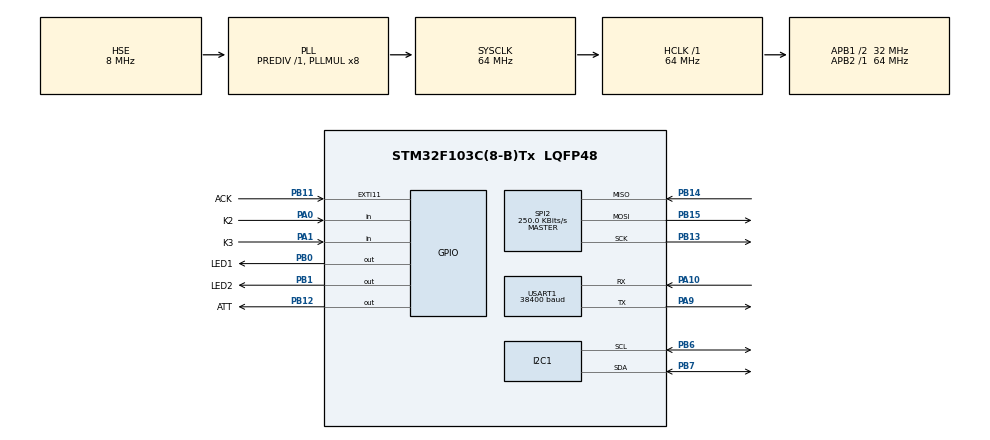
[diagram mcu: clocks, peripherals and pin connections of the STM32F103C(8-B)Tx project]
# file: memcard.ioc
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I2C1.I2C_Mode=I2C_Fast
Mcu.Family=STM32F1
Mcu.Name=STM32F103C(8-B)Tx
Mcu.Package=LQFP48
NVIC.EXTI15_10_IRQn=true\:0\:0\:false\:false\:true\:true\:true\:true
NVIC.PriorityGroup=NVIC_PRIORITYGROUP_4
NVIC.USART1_IRQn=true\:0\:0\:false\:false\:true\:true\:true\:true
PA0-WKUP.GPIO_Label=K2
PA0-WKUP.GPIO_PuPd=GPIO_PULLUP
PA0-WKUP.Signal=GPIO_Input
PA1.GPIO_Label=K3
PA1.GPIO_PuPd=GPIO_PULLUP
PA1.Signal=GPIO_Input
PA10.Mode=Asynchronous
PA10.Signal=USART1_RX
PA9.Mode=Asynchronous
PA9.Signal=USART1_TX
PB0.GPIO_Label=LED1
PB0.GPIO_ModeDefaultOutputPP=GPIO_MODE_OUTPUT_PP
PB0.GPIO_Speed=GPIO_SPEED_FREQ_LOW
PB0.PinState=GPIO_PIN_SET
PB0.Signal=GPIO_Output
PB1.GPIO_Label=LED2
PB1.GPIO_Speed=GPIO_SPEED_FREQ_LOW
PB1.PinState=GPIO_PIN_SET
PB1.Signal=GPIO_Output
PB11.GPIO_Label=ACK
PB11.GPIO_ModeDefaultEXTI=GPIO_MODE_IT_FALLING
PB11.GPIO_PuPd=GPIO_PULLUP
PB11.Signal=GPXTI11
PB12.GPIO_Label=ATT
PB12.GPIO_ModeDefaultOutputPP=GPIO_MODE_OUTPUT_PP
PB12.GPIO_PuPd=GPIO_PULLUP
PB12.GPIO_Speed=GPIO_SPEED_FREQ_HIGH
PB12.PinState=GPIO_PIN_SET
PB12.Signal=GPIO_Output
PB13.Mode=Full_Duplex_Master
PB13.Signal=SPI2_SCK
PB14.GPIO_PuPd=GPIO_PULLUP
PB14.Mode=Full_Duplex_Master
PB14.Signal=SPI2_MISO
PB15.Mode=Full_Duplex_Master
PB15.Signal=SPI2_MOSI
PB6.Mode=I2C
PB6.Signal=I2C1_SCL
PB7.Mode=I2C
PB7.Signal=I2C1_SDA
PC14-OSC32_IN.Mode=LSE-External-Oscillator
PC14-OSC32_IN.Signal=RCC_OSC32_IN
PC15-OSC32_OUT.Mode=LSE-External-Oscillator
PC15-OSC32_OUT.Signal=RCC_OSC32_OUT
PD0-OSC_IN.Mode=HSE-External-Oscillator
PD0-OSC_IN.Signal=RCC_OSC_IN
PD1-OSC_OUT.Mode=HSE-External-Oscillator
PD1-OSC_OUT.Signal=RCC_OSC_OUT
ProjectManager.HeapSize=0x200
ProjectManager.StackSize=0x400
ProjectManager.TargetToolchain=STM32CubeIDE
RCC.AHBFreq_Value=64000000
RCC.APB1CLKDivider=RCC_HCLK_DIV2
RCC.APB1Freq_Value=32000000
RCC.APB1TimFreq_Value=64000000
RCC.APB2Freq_Value=64000000
RCC.APB2TimFreq_Value=64000000
RCC.HCLKFreq_Value=64000000
RCC.PLLMUL=RCC_PLL_MUL8
RCC.PLLSourceVirtual=RCC_PLLSOURCE_HSE
RCC.SYSCLKFreq_VALUE=64000000
RCC.SYSCLKSource=RCC_SYSCLKSOURCE_PLLCLK
RCC.USBFreq_Value=64000000
SPI2.BaudRatePrescaler=SPI_BAUDRATEPRESCALER_128
SPI2.CLKPhase=SPI_PHASE_2EDGE
SPI2.CLKPolarity=SPI_POLARITY_HIGH
SPI2.CalculateBaudRate=250.0 KBits/s
SPI2.Direction=SPI_DIRECTION_2LINES
SPI2.FirstBit=SPI_FIRSTBIT_LSB
SPI2.Mode=SPI_MODE_MASTER
SPI2.VirtualType=VM_MASTER
USART1.BaudRate=38400
USART1.VirtualMode=VM_ASYNC
VP_SYS_VS_ND.Mode=No_Debug
board=custom

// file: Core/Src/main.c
/* USER CODE BEGIN Header */
/**
  ******************************************************************************
  * @file           : main.c
  * @brief          : Main program body
  ******************************************************************************
  * @attention
  *
  * Copyright (c) 2022 STMicroelectronics.
  * All rights reserved.
  *
  * This software is licensed under terms that can be found in the LICENSE file
  * in the root directory of this software component.
  * If no LICENSE file comes with this software, it is provided AS-IS.
  *
  ******************************************************************************
  */
/* USER CODE END Header */
#include "main.h"

/* USER CODE BEGIN Includes */
#include "../../icode/led/led.h"
#include "../../icode/key/key.h"
#include "../../icode/oled/oled.h"
#include "../../icode/card/card.h"
#include <string.h>

/* USER CODE END Includes */

/* USER CODE BEGIN PD */

//Device Firmware identifier
#define IDENTIFIER "MCDINO"  //MemCARDuino
#define VERSION 0x04         //Firmware version byte (Major.Minor)
//Responses
#define ERROR 0xE0         //Invalid command received (error)

/* USER CODE END PD */

I2C_HandleTypeDef hi2c1;

SPI_HandleTypeDef hspi2;

UART_HandleTypeDef huart1;

uint8_t USART1_NewData;

uint8_t MENU;

int8_t Block;//记忆卡第几格

int8_t draw;//是否重绘标记

uint8_t slot[15];

uint8_t foundcard;//是否找到记忆卡标记

uint16_t temp;//记忆卡祯地址

uint8_t frame[200];//记忆卡祯缓存

void SystemClock_Config(void);
static void MX_GPIO_Init(void);
static void MX_I2C1_Init(void);
static void MX_USART1_UART_Init(void);
static void MX_SPI2_Init(void);

/* USER CODE BEGIN 0 */
void HAL_GPIO_EXTI_Callback(uint16_t GPIO_Pin){

	if(GPIO_Pin==ACK_Pin){
		LED_2_Contrary();
	};
}
void Draw(int8_t block){//绘屏抽出来单独一个函数，传递block第几块作为参数

if(foundcard==1&&draw==1){
	  OLED_DISPLAY_8x16_BUFFER(0,(uint8_t*)&"BLOCK           ");//想用类似"*-------------- "来表示
	  OLED_DISPLAY_8x16(0, 48,block/10+0x30);//可以看看日文字库的符号
	  OLED_DISPLAY_8x16(0, 56,block%10+0x30);
	  temp=0x0000+block;
	  ReadFrame(frame,temp);
	  //slot[block]=frame[0];
	  switch(frame[0]){//判断目录祯第一字节存档状态
			 case 0x51 :OLED_DISPLAY_8x16_BUFFER(2,(uint8_t*)&"In use 1st.     ");break;
			 case 0x52 :OLED_DISPLAY_8x16_BUFFER(2,(uint8_t*)&"In use middle.  ");break;
			 case 0x53 :OLED_DISPLAY_8x16_BUFFER(2,(uint8_t*)&"In use last.    ");break;
			 case 0xa0 :OLED_DISPLAY_8x16_BUFFER(2,(uint8_t*)&"Free.           ");break;
			 case 0xa1 :OLED_DISPLAY_8x16_BUFFER(2,(uint8_t*)&"Free.Deleted 1st");break;
			 case 0xa2 :OLED_DISPLAY_8x16_BUFFER(2,(uint8_t*)&"Free.Deleted 2nt");break;
			 case 0xa3 :OLED_DISPLAY_8x16_BUFFER(2,(uint8_t*)&"Free.Deleted 3rd");break;
			 default:OLED_DISPLAY_8x16_BUFFER(2,(uint8_t*)&"Error.          ");break;
			 };
	  if(frame[0]<0x54&&frame[0]>=0x51){//第一字节有效则显示0C-1E位置文件名
		  for(int i=0;i<16;i++){//只显示了一行16个，应采用00h为终止判定
			  if(frame[i+0x0c]<0x80&&frame[i+0x0c]>=0x20){//确保在ASCII可显示范围内
				 OLED_DISPLAY_8x16(4, i*8,(uint16_t)frame[i+0x0c]);
			  }

		  }
	  };
	  temp=block*64;//祯地址=BLOCK*64+FRAME,title frame 偏移为 0（1-15block中）
	  ReadFrame(frame,temp);
	  for(int i=0x04;i<0x24;i+=2){//按两行显示title，一行只能16个字（8*8）
			  OLED_DISPLAY_SJIS_8x8(6,(i-0x04)*4,(frame[i]<<8)|frame[i+1]);
	  };
	  for(int i=0x24;i<0x44;i+=2){
			  OLED_DISPLAY_SJIS_8x8(7,(i-0x24)*4,(frame[i]<<8)|frame[i+1]);
	  };
	}
	draw=0;//绘制完后，即关闭绘制标志
}

/* USER CODE END 0 */

int main(void)
{
  /* USER CODE BEGIN 1 */

	//uint8_t count;
	//uint8_t buff[2];
	//buff[0]=0;
	//buff[1]='\0';
	//count=0;
	//uint8_t version;
	//uint8_t err;
	uint8_t uartbuff[200],readbuff[128],writebuff[128];
	//uint8_t AddressMSB ,AddressLSB;
	//uint16_t Address;
	draw=1;//首次需要绘制，赋初值
  /* USER CODE END 1 */

  /* MCU Configuration--------------------------------------------------------*/

  /* Reset of all peripherals, Initializes the Flash interface and the Systick. */
  HAL_Init();

  /* Configure the system clock */
  SystemClock_Config();

  /* Initialize all configured peripherals */
  MX_GPIO_Init();
  MX_I2C1_Init();
  MX_USART1_UART_Init();
  MX_SPI2_Init();
  /* USER CODE BEGIN 2 */
  LED_ALL(0x00);
  HAL_Delay(200);
  OLED0561_Init();

  //uint16_t jtext[] =  {0x834f,0x8389,0x8393,0x8366,0x8342,0x8341,0x89fc};
  //uint16_t jtext1[]={0x8bd9,0x8b7d,0x8e96,0x91d4,0x90e9,0x8cbe};

  OLED_DISPLAY_8x16_BUFFER(2,(uint8_t*)&"  PSX  MEMCARD  ");
  OLED_DISPLAY_8x16_BUFFER(4,(uint8_t*)&"Reading");
  HAL_Delay(1000);

  //OLED_DISPLAY_8x16_BUFFER(2,(uint8_t*)&"*-------------- ");
  //OLED_DISPLAY_8x16_BUFFER(4,(uint8_t*)&"SLPS-02124 JAPAN");

//  OLED_DISPLAY_SJIS_8x8(7,0,jtext[0]);
//  OLED_DISPLAY_SJIS_8x8(7,8,jtext[1]);
//  OLED_DISPLAY_SJIS_8x8(7,16,jtext[2]);
//  OLED_DISPLAY_SJIS_8x8(7,24,jtext[3]);
//  OLED_DISPLAY_SJIS_8x8(7,32,jtext[4]);
//  OLED_DISPLAY_SJIS_8x8(7,40,jtext[5]);

  int i=0;
  do{
	ReadFrame(frame,0x0000);
	OLED_DISPLAY_8x16(4,56+i*8,'.');
	HAL_Delay(500);
	i++;
  }while(!(frame[0]=='M'&&frame[1]=='C'&&frame[127]==0x0e)&&(i<9));
  //判定0000祯是否有效，多次未成功则跳出

  if(i<9){//8次以内，
	  OLED_DISPLAY_8x16_BUFFER(0,(uint8_t*)&"                ");
	  OLED_DISPLAY_8x16_BUFFER(2,(uint8_t*)&"  FOUND   CARD  ");
	  OLED_DISPLAY_8x16_BUFFER(4,(uint8_t*)&"                ");
	  foundcard=1;
	  }else{
	  OLED_DISPLAY_8x16_BUFFER(0,(uint8_t*)&"                ");

	  OLED_DISPLAY_8x16_BUFFER(2,(uint8_t*)&"    NO   CARD   ");//可以用日文
	  OLED_DISPLAY_8x16_BUFFER(4,(uint8_t*)&"                ");
	  foundcard=0;
	  }
  HAL_Delay(1000);

  MENU=0;//0:wait-cmd,1:GETID,2:GETVER,3:MCREAD,4:MCWRITE,5:ERROR
  Block=1;
  //version=VERSION;
  //err=ERROR;
  memset(uartbuff,0,200);
  memset(readbuff,0,128);
  memset(writebuff,0,128);

  /* USER CODE END 2 */

  /* Infinite loop */
  /* USER CODE BEGIN WHILE */
  while (1)
  {
//	  if(MENU==1){//GETID
//		  HAL_UART_Transmit(&huart1, (uint8_t*)&IDENTIFIER, 6, 0x000f);
//		  OLED_DISPLAY_8x16_BUFFER(2,(uint8_t*)&"MCDINO");
//		  MENU=0;
//		  HAL_UART_Receive_IT(&huart1,&USART1_NewData,1);
//	  	  };
//	  if(MENU==2){//GETVER
//		  HAL_UART_Transmit(&huart1, &version, 1, 0x000f);
//		  OLED_DISPLAY_8x16_BUFFER(2,(uint8_t*)&"Ver.04");
//		  MENU=0;
//		  HAL_UART_Receive_IT(&huart1,&USART1_NewData,1);
//	  	  	  };
//	  if(MENU==3){//MCREAD
//		  HAL_UART_Receive(&huart1, readbuff, 2, 0x000f);
//		  AddressMSB=readbuff[0];
//		  AddressLSB=readbuff[1];
//		  Address=(AddressMSB<<8)|AddressLSB;
//		  OLED_DISPLAY_8x16_BUFFER(2,(uint8_t*)&"MCREAD");
//		  ReadFrame(frame,Address);
//		  HAL_UART_Transmit(&huart1, frame, 130, 0xffff);
//		  MENU=0;
//		  HAL_UART_Receive_IT(&huart1,&USART1_NewData,1);
//
//	  	  	  };
//	  if(MENU==4){//MCWRITE
////		  HAL_UART_Receive(&huart1, buff, 2, 0xffff);
////		  AddressMSB=buff[0];
////		  AddressLSB=buff[1];
////		  HAL_UART_Receive(&huart1, buff, 2, 0xffff);
////		  WriteFrame(&frame,AddressMSB,AddressLSB);
////		  HAL_UART_Transmit(&huart1, &writebuff, 128, 0xffff);
////		  MENU=0;
////		  HAL_UART_Receive_IT(&huart1,&USART1_NewData,1);
//
////		  HAL_UART_Receive(&huart1, buff, 2, 0xffff);
////		  AddressMSB=buff[0];
////		  AddressLSB=buff[1];
//		  OLED_DISPLAY_8x16_BUFFER(2,(uint8_t*)&"MCWRIT");
//		  		  //ReadFrame(frame,AddressMSB,AddressLSB);
//		  		  //HAL_UART_Transmit(&huart1, frame, 130, 0xffff);
//		  MENU=0;=y
//		  HAL_UART_Receive_IT(&huart1,&USART1_NewData,1);
//
//
//
//	  	  	  };		`
//	  if(MENU==5){//ERROR
//		  HAL_UART_Transmit(&huart1, &version, 1, 0x000f);
//		  OLED_DISPLAY_8x16_BUFFER(2,(uint8_t*)&"ERROR.");
//		  MENU=0;
//		  HAL_UART_Receive_IT(&huart1,&USART1_NewData,1);
//	  	  	  	  };
	  Draw(Block);

	  if(K2()){

				  Block++;
				  if(Block>15){Block=15;};
				  draw=1;

	  };
	  if(K3()){
		  		Block--;
		  		if(Block<1){Block=1;};
		  		draw=1;

	  };

	  HAL_Delay(50);

    /* USER CODE END WHILE */

  }
}

void SystemClock_Config(void)
{
  RCC_OscInitTypeDef RCC_OscInitStruct = {0};
  RCC_ClkInitTypeDef RCC_ClkInitStruct = {0};

  /** Initializes the RCC Oscillators according to the specified parameters
  * in the RCC_OscInitTypeDef structure.
  */
  RCC_OscInitStruct.OscillatorType = RCC_OSCILLATORTYPE_HSE;
  RCC_OscInitStruct.HSEState = RCC_HSE_ON;
  RCC_OscInitStruct.HSEPredivValue = RCC_HSE_PREDIV_DIV1;
  RCC_OscInitStruct.HSIState = RCC_HSI_ON;
  RCC_OscInitStruct.PLL.PLLState = RCC_PLL_ON;
  RCC_OscInitStruct.PLL.PLLSource = RCC_PLLSOURCE_HSE;
  RCC_OscInitStruct.PLL.PLLMUL = RCC_PLL_MUL8;
  if (HAL_RCC_OscConfig(&RCC_OscInitStruct) != HAL_OK)
  {
    Error_Handler();
  }

  /** Initializes the CPU, AHB and APB buses clocks
  */
  RCC_ClkInitStruct.ClockType = RCC_CLOCKTYPE_HCLK|RCC_CLOCKTYPE_SYSCLK
                              |RCC_CLOCKTYPE_PCLK1|RCC_CLOCKTYPE_PCLK2;
  RCC_ClkInitStruct.SYSCLKSource = RCC_SYSCLKSOURCE_PLLCLK;
  RCC_ClkInitStruct.AHBCLKDivider = RCC_SYSCLK_DIV1;
  RCC_ClkInitStruct.APB1CLKDivider = RCC_HCLK_DIV2;
  RCC_ClkInitStruct.APB2CLKDivider = RCC_HCLK_DIV1;

  if (HAL_RCC_ClockConfig(&RCC_ClkInitStruct, FLASH_LATENCY_2) != HAL_OK)
  {
    Error_Handler();
  }
}

static void MX_I2C1_Init(void)
{

  hi2c1.Instance = I2C1;
  hi2c1.Init.ClockSpeed = 400000;
  hi2c1.Init.DutyCycle = I2C_DUTYCYCLE_2;
  hi2c1.Init.OwnAddress1 = 0;
  hi2c1.Init.AddressingMode = I2C_ADDRESSINGMODE_7BIT;
  hi2c1.Init.DualAddressMode = I2C_DUALADDRESS_DISABLE;
  hi2c1.Init.OwnAddress2 = 0;
  hi2c1.Init.GeneralCallMode = I2C_GENERALCALL_DISABLE;
  hi2c1.Init.NoStretchMode = I2C_NOSTRETCH_DISABLE;
  if (HAL_I2C_Init(&hi2c1) != HAL_OK)
  {
    Error_Handler();
  }

}

static void MX_SPI2_Init(void)
{

  /* SPI2 parameter configuration*/
  hspi2.Instance = SPI2;
  hspi2.Init.Mode = SPI_MODE_MASTER;
  hspi2.Init.Direction = SPI_DIRECTION_2LINES;
  hspi2.Init.DataSize = SPI_DATASIZE_8BIT;
  hspi2.Init.CLKPolarity = SPI_POLARITY_HIGH;
  hspi2.Init.CLKPhase = SPI_PHASE_2EDGE;
  hspi2.Init.NSS = SPI_NSS_SOFT;
  hspi2.Init.BaudRatePrescaler = SPI_BAUDRATEPRESCALER_128;
  hspi2.Init.FirstBit = SPI_FIRSTBIT_LSB;
  hspi2.Init.TIMode = SPI_TIMODE_DISABLE;
  hspi2.Init.CRCCalculation = SPI_CRCCALCULATION_DISABLE;
  hspi2.Init.CRCPolynomial = 10;
  if (HAL_SPI_Init(&hspi2) != HAL_OK)
  {
    Error_Handler();
  }

}

static void MX_USART1_UART_Init(void)
{

  huart1.Instance = USART1;
  huart1.Init.BaudRate = 38400;
  huart1.Init.WordLength = UART_WORDLENGTH_8B;
  huart1.Init.StopBits = UART_STOPBITS_1;
  huart1.Init.Parity = UART_PARITY_NONE;
  huart1.Init.Mode = UART_MODE_TX_RX;
  huart1.Init.HwFlowCtl = UART_HWCONTROL_NONE;
  huart1.Init.OverSampling = UART_OVERSAMPLING_16;
  if (HAL_UART_Init(&huart1) != HAL_OK)
  {
    Error_Handler();
  }

}

static void MX_GPIO_Init(void)
{
  GPIO_InitTypeDef GPIO_InitStruct = {0};

  /* GPIO Ports Clock Enable */
  __HAL_RCC_GPIOC_CLK_ENABLE();
  __HAL_RCC_GPIOD_CLK_ENABLE();
  __HAL_RCC_GPIOA_CLK_ENABLE();
  __HAL_RCC_GPIOB_CLK_ENABLE();

  /*Configure GPIO pin Output Level */
  HAL_GPIO_WritePin(GPIOB, LED1_Pin|LED2_Pin|ATT_Pin, GPIO_PIN_SET);

  /*Configure GPIO pins : K2_Pin K3_Pin */
  GPIO_InitStruct.Pin = K2_Pin|K3_Pin;
  GPIO_InitStruct.Mode = GPIO_MODE_INPUT;
  GPIO_InitStruct.Pull = GPIO_PULLUP;
  HAL_GPIO_Init(GPIOA, &GPIO_InitStruct);

  /*Configure GPIO pins : LED1_Pin LED2_Pin */
  GPIO_InitStruct.Pin = LED1_Pin|LED2_Pin;
  GPIO_InitStruct.Mode = GPIO_MODE_OUTPUT_PP;
  GPIO_InitStruct.Pull = GPIO_NOPULL;
  GPIO_InitStruct.Speed = GPIO_SPEED_FREQ_LOW;
  HAL_GPIO_Init(GPIOB, &GPIO_InitStruct);

  /*Configure GPIO pin : ACK_Pin */
  GPIO_InitStruct.Pin = ACK_Pin;
  GPIO_InitStruct.Mode = GPIO_MODE_IT_FALLING;
  GPIO_InitStruct.Pull = GPIO_PULLUP;
  HAL_GPIO_Init(ACK_GPIO_Port, &GPIO_InitStruct);

  /*Configure GPIO pin : ATT_Pin */
  GPIO_InitStruct.Pin = ATT_Pin;
  GPIO_InitStruct.Mode = GPIO_MODE_OUTPUT_PP;
  GPIO_InitStruct.Pull = GPIO_PULLUP;
  GPIO_InitStruct.Speed = GPIO_SPEED_FREQ_HIGH;
  HAL_GPIO_Init(ATT_GPIO_Port, &GPIO_InitStruct);

  /* EXTI interrupt init*/
  HAL_NVIC_SetPriority(EXTI15_10_IRQn, 0, 0);
  HAL_NVIC_EnableIRQ(EXTI15_10_IRQn);

}

void Error_Handler(void)
{
  __disable_irq();
  while (1)
  {
  }
}
